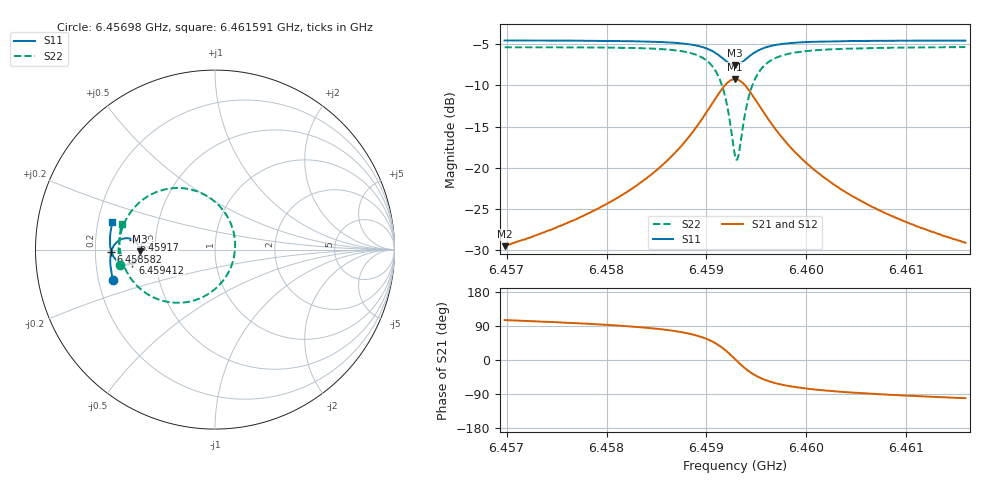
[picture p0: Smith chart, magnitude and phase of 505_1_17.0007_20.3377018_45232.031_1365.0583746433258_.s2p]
#  HZ  S  RI  R  50.00
! Rohde & Schwarz Vector Network Analyzer
! Rohde-Schwarz,ZNB20-2Port,1311601062101988,3.16
! Created: UTC 3/20/2024, 11:14:45 PM
! freq[Hz]  re:S11  im:S11  re:S21  im:S21  re:S12  im:S12  re:S22  im:S22
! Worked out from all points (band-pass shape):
!   401 points, 6.45698 GHz to 6.461591 GHz, reference 50 ohm
!   highest |S21| = -9.24 dB at 6.459285 GHz (marker M1); lowest = -29.5 dB at 6.45698 GHz (marker M2)
!   |S21| within 3 dB of the highest: 6.459055 GHz to 6.459516 GHz (460.9 kHz wide, 0.00714 % of centre)
!   lowest |S11| = -7.6 dB at 6.459285 GHz (marker M3), VSWR 2.44, Z = 20.5 - j0.483 ohm
!   |S11| at or under -10 dB: nowhere
!   |S22| runs from -19.0 to -5.4 dB; largest |S21 - S12| = 0.014
!   S11 on the Smith chart (normalised r, x): 6.45698 GHz: 0.26, -0.14; 6.458582 GHz: 0.27, -0.01; 6.45917 GHz: 0.37, +0.05; 6.459412 GHz: 0.37, -0.07; 6.461591 GHz: 0.26, +0.12
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6.4569802e9  -0.5667 -0.172  -0.00891 0.0322  -0.00725 0.0323  -0.532 -0.0846
6.4577524e9  -0.5808 -0.1044  -0.00561 0.0503  -0.00302 0.0497  -0.5375 0.00556
6.4581789e9  -0.5837 -0.0618  0.000455 0.0698  0.00352 0.0684  -0.5294 0.0731
6.4585247e9  -0.5799 -0.0205  0.0141 0.0986  0.0182 0.0957  -0.504 0.1507
6.4585823e9  -0.5782 -0.0126  0.0185 0.1055  0.0226 0.1023  -0.4957 0.1673
6.4587898e9  -0.5651 0.0195  0.046 0.1377  0.0501 0.1328  -0.4444 0.24
6.4589396e9  -0.5424 0.0457  0.0912 0.1682  0.0943 0.1614  -0.361 0.3044
6.4590779e9  -0.4988 0.0633  0.1779 0.1847  0.1791 0.1773  -0.2019 0.3432
6.4591701e9  -0.4543 0.0532  0.2679 0.1535  0.268 0.1477  -0.0357 0.2931
6.4592393e9  -0.4253 0.0213  0.3284 0.0819  0.3304 0.0766  0.0798 0.1639
6.4592854e9  -0.4185 -0.00972  0.3447 0.0141  0.3484 0.00715  0.1121 0.0371
6.4592969e9  -0.4188 -0.0178  0.3445 -0.00348  0.3484 -0.0114  0.112 0.00349
6.45932e9  -0.4224 -0.0333  0.339 -0.0384  0.3428 -0.0475  0.1007 -0.0623
6.4593661e9  -0.4378 -0.0593  0.3105 -0.0981  0.3127 -0.11  0.0431 -0.1753
6.4594122e9  -0.4599 -0.0755  0.2685 -0.1392  0.2676 -0.1523  -0.0419 -0.2502
6.4595044e9  -0.5032 -0.0824  0.1838 -0.1704  0.1776 -0.1818  -0.2106 -0.2963
6.4596542e9  -0.5469 -0.0618  0.096 -0.1563  0.0874 -0.1626  -0.3781 -0.2469
6.4598156e9  -0.5685 -0.0342  0.0511 -0.1285  0.0435 -0.1313  -0.4585 -0.1748
6.4600576e9  -0.581 0.00156  0.0221 -0.097  0.0164 -0.0976  -0.5062 -0.0923
6.4603919e9  -0.5856 0.0412  0.00656 -0.0709  0.00243 -0.0705  -0.5274 -0.0154
6.4608299e9  -0.5835 0.0853  -0.00146 -0.0517  -0.0043 -0.0509  -0.5317 0.055
6.4615906e9  -0.5712 0.1526  -0.0065 -0.0344  -0.00823 -0.0336  -0.5204 0.1447
